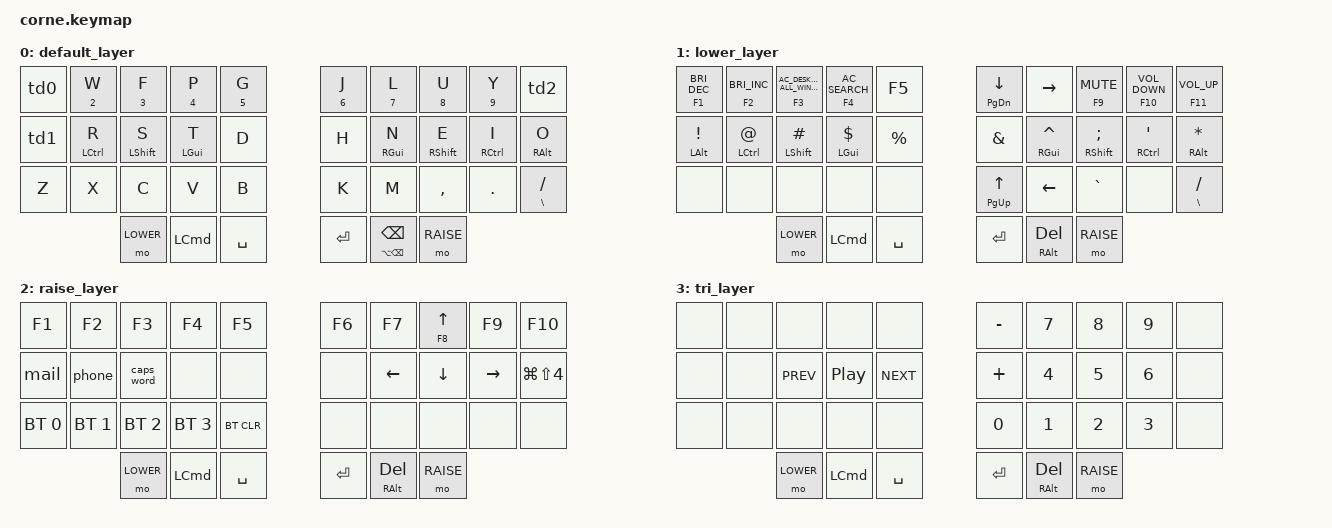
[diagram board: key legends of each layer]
#include <behaviors.dtsi>
#include <dt-bindings/zmk/mouse.h>
#include <dt-bindings/zmk/bt.h>
#include <dt-bindings/zmk/keys.h>

#define DEFAULT 0
#define LOWER 1
#define RAISE 2

// Media controls
#define VOL_DOWN C_VOLUME_DOWN
#define VOL_UP C_VOLUME_UP
#define VOL_MUTE K_MUTE
#define PREV C_PREVIOUS
#define PLAY C_PLAY_PAUSE
#define NEXT C_NEXT

// Display controls
#define BRIGHT C_BRIGHTNESS_INC
#define DARK C_BRIGHTNESS_DEC

// Window controls
#define APPS C_AC_DESKTOP_SHOW_ALL_WINDOWS
#define SEARCH C_AC_SEARCH


/* 
 * ╭─────────────────────────┬────────────────────────╮
 * │  0   1   2   3   4      │      5   6   7   8   9 │
 * │ 10  11  12  13  14      │     15  16  17  18  19 │
 * │ 20  21  22  23  24      │     25  26  27  28  29 │
 * ╰───────────╮ 30  31  32  │ 33  34  35 ╭───────────╯
 *             ╰─────────────┴────────────╯
 */

/ {
    chosen {
      zmk,matrix_transform = &five_column_transform;
    };

    combos {
        compatible = "zmk,combos";

        combo_esc {
            timeout-ms = <30>;
            key-positions = <11 12 13>;
            bindings = <&kp ESC>;
        };

        combo_caps_word {
            timeout-ms = <30>;
            key-positions = <13 16>;
            bindings = <&caps_word>;
        };

        combo_brace_left {
            timeout-ms = <30>;
            key-positions = <12 13>;
            bindings = <&kp LEFT_BRACE>;
        };

        combo_bracket_left {
            timeout-ms = <30>;
            key-positions = <13 14>;
            bindings = <&kp LBKT>;
        };

        combo_bracket_right {
            timeout-ms = <30>;
            key-positions = <15 16>;
            bindings = <&kp RBKT>;
        };

        combo_brace_right {
            timeout-ms = <30>;
            key-positions = <16 17>;
            bindings = <&kp RIGHT_BRACE>;
        };

        combo_pipe {
            timeout-ms = <30>;
            key-positions = <22 23>;
            bindings = <&kp PIPE>;
        };

        combo_ascii_dot {
            timeout-ms = <30>;
            key-positions = <26 27>;
            bindings = <&bullet>;
        };

        combo_parenthesis_left {
            timeout-ms = <30>;
            key-positions = <23 24>;
            bindings = <&kp LEFT_PARENTHESIS>;
        };

        combo_parenthesis_right {
            timeout-ms = <30>;
            key-positions = <25 26>;
            bindings = <&kp RIGHT_PARENTHESIS>;
        };
    };

    conditional_layers {
        compatible = "zmk,conditional-layers";
        tri_layer {
            if-layers = <1 2>;
            then-layer = <3>;
        };
    };

    macros {
        mail: mail {
            compatible = "zmk,behavior-macro";
            label = "macro_mail";
            #binding-cells = <0>;
            wait-ms = <0>; // default: 15ms  Delay between each binging
            tap-ms = <30>; // default: 30ms  How long each binding will be held
            bindings
                = <&macro_tap &kp B &kp E &kp N &kp J &kp A &kp M &kp I &kp N> 
                , <&macro_tap &kp AT>
                , <&macro_tap &kp S &kp T>
                , <&macro_press &kp LALT>
                , <&macro_tap &kp U>
                , <&macro_release &kp LALT>
                , <&macro_tap &kp U &kp R &kp M &kp E &kp R &kp PERIOD &kp P &kp R &kp O>
                ;
        };
        phone: phone {
            compatible = "zmk,behavior-macro";
            label = "macro_phone";
            #binding-cells = <0>;
            wait-ms = <5>; // default: 15ms  Delay between each binging
            tap-ms = <30>; // default: 30ms  How long each binding will be held
            bindings
                = <&macro_tap &kp N0 &kp N1 &kp N6 &kp N2 &kp N4 &kp N5 &kp N3 &kp N4 &kp N0 &kp N4 &kp N3> 
                ;
        };
        bullet: bullet {
            compatible = "zmk,behavior-macro";
            label = "bullet";
            #binding-cells = <0>;
            wait-ms = <5>;
            tap-ms = <30>;
            bindings
                = <&macro_press &kp RALT>
                , <&macro_tap &kp N8>
                , <&macro_release &kp RALT>
                ;
        };
    };

    // cheat-sheet https://peccu.github.io/zmk-cheat-sheet/
    keymap {
        compatible = "zmk,keymap";

        default_layer {
            bindings = <
                &td0            &mt N2 W        &mt N3 F            &mt N4 P        &mt N5 G        &mt N6 J        &mt N7 L            &mt N8 U            &mt N9 Y            &td2
                &td1            &hml LCTRL R    &hml LSHIFT S       &hml LGUI T     &kp D           &kp H           &hmr RGUI N         &hmr RSHIFT E       &hmr RCTRL I        &hmr RALT O
                &kp Z           &kp X           &kp C               &kp V           &kp B           &kp K           &kp M               &kp COMMA           &kp DOT             &mt BSLH FSLH
                                                                &mo LOWER  &kp LCMD        &kp SPACE                           &kp ENTER           &mt LA(BSPC) BSPC   &mo RAISE
            >;
        };

        lower_layer {
            bindings = <
                &mt F1 DARK     &mt F2 BRIGHT   &mt F3 APPS         &mt F4 SEARCH   &kp F5          &mt PG_DN DOWN  &kp RIGHT           &mt F9 VOL_MUTE     &mt F10 VOL_DOWN    &mt F11 VOL_UP
                &mt LALT EXCL   &hml LCTRL AT   &hml LSHIFT HASH    &hml LGUI DOLLAR &kp PERCENT    &kp AMPERSAND   &hmr RGUI CARET     &hmr RSHIFT SEMI    &hmr RCTRL APOS     &hmr RALT ASTERISK
                &none           &none           &none               &none           &none           &mt PG_UP UP    &kp LEFT            &kp GRAVE           &none               &mt BSLH FSLH
                                                                &mo LOWER  &kp LCMD        &kp SPACE                           &kp ENTER           &mt RALT DEL        &mo RAISE

            >;
        };

        raise_layer {
            bindings = <
                &kp F1          &kp F2          &kp F3              &kp F4          &kp F5          &kp F6          &kp F7              &mt F8 UP           &kp F9              &kp F10
                &mail           &phone          &caps_word          &none           &none           &none           &kp LEFT            &kp DOWN            &kp RIGHT           &kp LG(LS(N4))
                &bt BT_SEL 0    &bt BT_SEL 1    &bt BT_SEL 2        &bt BT_SEL 3    &bt BT_CLR      &none           &none               &none               &none               &none
                                                                &mo LOWER  &kp LCMD        &kp SPACE                           &kp ENTER           &mt RALT DEL        &mo RAISE
            >;
        };

        tri_layer {
            bindings = <
                &none           &none           &none               &none           &none           &kp MINUS       &kp N7              &kp N8              &kp N9              &none
                &none           &none           &kp C_PREV          &kp C_PP        &kp C_NEXT      &kp PLUS        &kp N4              &kp N5              &kp N6              &none
                &none           &none           &none               &none           &none           &kp N0          &kp N1              &kp N2              &kp N3              &none
                                                             &mo LOWER  &kp LCMD        &kp SPACE                              &kp ENTER           &mt RALT DEL        &mo RAISE
            >;
        };
    };
};

#include "includes/caps-word.dtsi"
#include "includes/homerow.dtsi"
#include "includes/mod-tap.dtsi"
#include "includes/tap-dance.dtsi"
